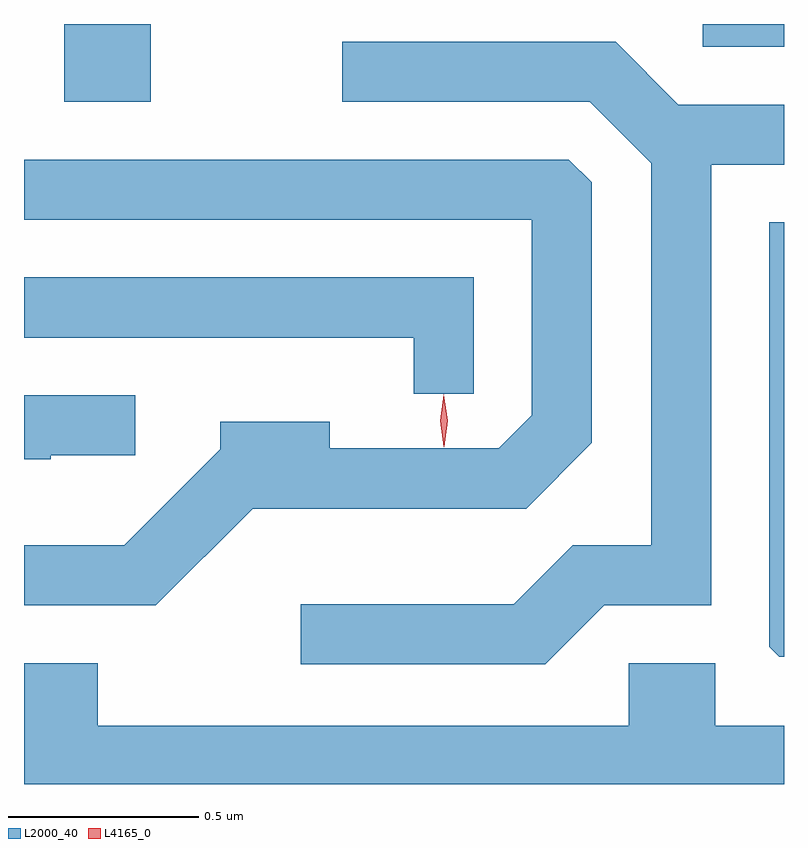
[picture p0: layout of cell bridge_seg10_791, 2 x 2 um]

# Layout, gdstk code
import gdstk
lib = gdstk.Library(unit=1e-6, precision=1e-09)
def R(c, l, rs):  # rectangles x0, y0, x1, y1
    for r in rs: c.add(gdstk.rectangle(r[:2], r[2:], *l))
def P(c, l, *ps):  # polygons
    for p in ps: c.add(gdstk.Polygon(p, *l))
L2000_40 = (2000, 40)
L4165_0 = (4165, 0)

bridge_seg10_791 = lib.new_cell('bridge_seg10_791')
R(bridge_seg10_791, L2000_40, [(564.251,2113.606,564.479,2113.811), (565.931,2113.751,566.145,2113.811)])
P(bridge_seg10_791, L2000_40, [(565.672,2112.281),(565.954,2112.281),(565.954,2113.441),(566.145,2113.441),(566.145,2113.599),(565.867,2113.599),(565.702,2113.764),(564.983,2113.764),(564.983,2113.606),(565.634,2113.606),(565.796,2113.444),(565.796,2112.439),(565.589,2112.439),(565.434,2112.284),(564.873,2112.284),(564.873,2112.126),(565.517,2112.126)],
  [(564.747,2112.536),(565.467,2112.536),(565.639,2112.709),(565.639,2113.394),(565.579,2113.454),(564.145,2113.454),(564.145,2113.296),(565.481,2113.296),(565.481,2112.782),(565.394,2112.694),(564.949,2112.694),(564.949,2112.764),(564.661,2112.764),(564.661,2112.692),(564.409,2112.439),(564.145,2112.439),(564.145,2112.281),(564.492,2112.281)],
  [(566.145,2113.289),(566.106,2113.289),(566.106,2112.172),(566.132,2112.146),(566.145,2112.146)],
  [(565.329,2113.144),(564.145,2113.144),(564.145,2112.986),(565.171,2112.986),(565.171,2112.838),(565.329,2112.838)],
  [(564.215,2112.676),(564.438,2112.676),(564.438,2112.834),(564.145,2112.834),(564.145,2112.666),(564.215,2112.666)],
  [(566.145,2111.964),(565.964,2111.964),(565.964,2112.129),(565.736,2112.129),(565.736,2111.964),(564.339,2111.964),(564.339,2112.129),(564.145,2112.129),(564.145,2111.811),(566.145,2111.811)])
P(bridge_seg10_791, L4165_0, [(565.25,2112.698),(565.24,2112.767),(565.25,2112.836),(565.25,2112.837),(565.25,2112.836),(565.26,2112.767),(565.251,2112.698),(565.251,2112.698)])

lib.write_gds('bridge_seg10_791.gds')
